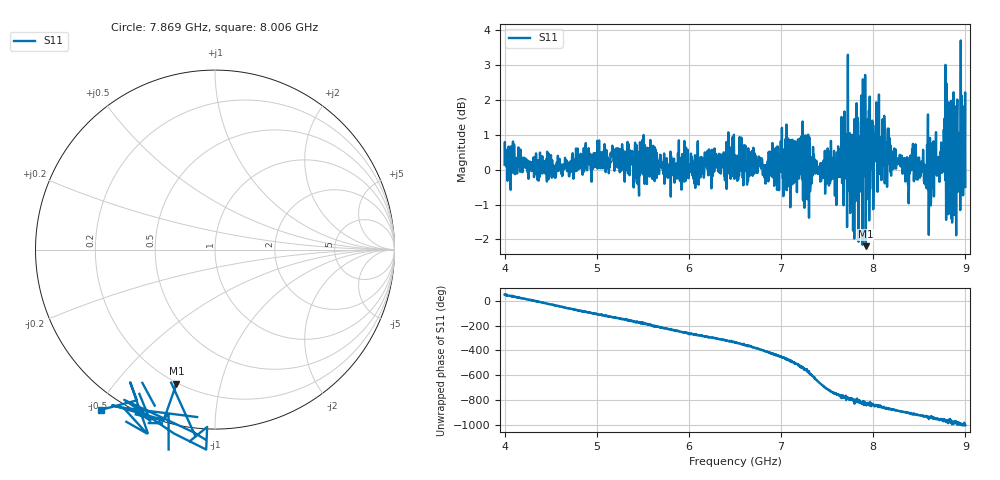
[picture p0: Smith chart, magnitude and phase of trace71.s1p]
! Created with skrf 1.8.0 (http://scikit-rf.org).
# Hz S RI R 50.0
!freq ReS11 ImS11
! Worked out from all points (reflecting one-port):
!   1601 points, 4 GHz to 9 GHz, reference 50 ohm
!   lowest |S11| = -2.2 dB at 7.919 GHz (marker M1), VSWR 7.97, Z = 9.75 - j36.7 ohm
!   phase of S11 starts at 52 deg and turns -1056 deg over the sweep
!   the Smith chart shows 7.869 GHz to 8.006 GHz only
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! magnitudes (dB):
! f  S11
! 4 GHz  0.1
! 4.625 GHz  -0.2
! 5.25 GHz  -0.1
! 5.875 GHz  0.2
! 6.5 GHz  0.4
! 7.125 GHz  0.4
! 7.209 GHz  0.2
! 7.262 GHz  1.0
! 7.284 GHz  0.4
! 7.578 GHz  0.3
! 7.7 GHz  1.0
! 7.75 GHz  -1.2
! 7.769 GHz  -0.5
! 7.891 GHz  0.5
! 7.909 GHz  0.6
! 7.919 GHz  -2.2
! 7.944 GHz  1.2
! 7.962 GHz  2.1
! 8.097 GHz  0.9
! 8.375 GHz  0.0
! 8.441 GHz  -0.3
! 8.622 GHz  0.0
! 8.788 GHz  0.0
! 8.875 GHz  0.4
! 8.888 GHz  0.6
! 8.922 GHz  0.0
! 8.972 GHz  0.4
! 9 GHz  -0.5
